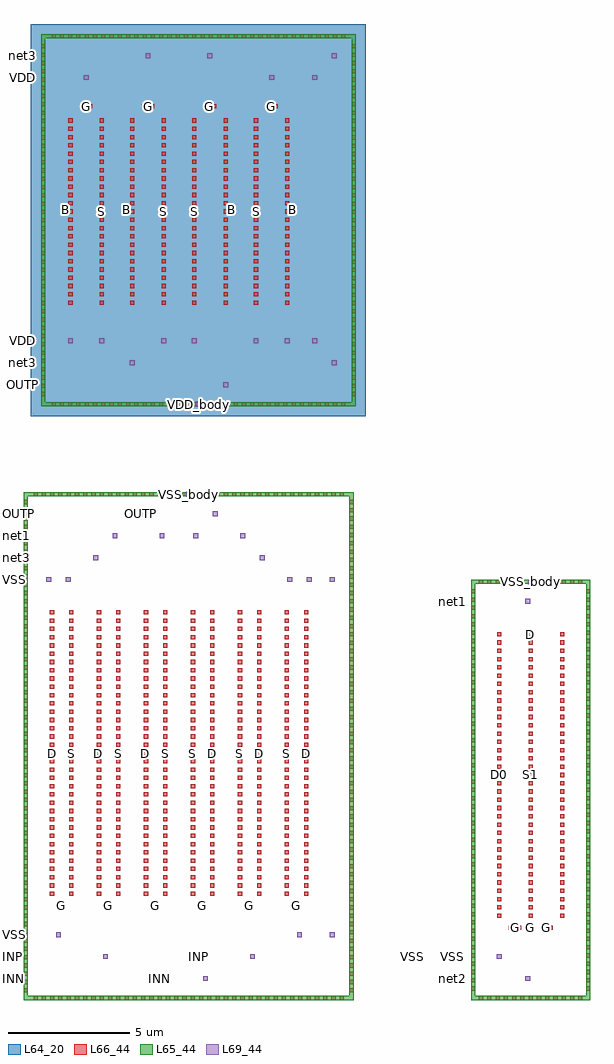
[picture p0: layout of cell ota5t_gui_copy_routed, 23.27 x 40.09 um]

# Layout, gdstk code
from math import pi, radians
import gdstk
lib = gdstk.Library(unit=1e-6, precision=1e-09)
def R(c, l, rs):  # rectangles x0, y0, x1, y1
    for r in rs: c.add(gdstk.rectangle(r[:2], r[2:], *l))
def A(c, l, x, y, w, h, nx, ny, dx, dy):  # array of equal rectangles
    R(c, l, [(x+i*dx, y+j*dy, x+i*dx+w, y+j*dy+h) for i in range(nx) for j in range(ny)])
L64_20 = (64, 20)
L65_44 = (65, 44)
L66_44 = (66, 44)
L69_44 = (69, 44)

d_sky130_fd_pr__nfet_01v = lib.new_cell('D$sky130_fd_pr__nfet_01v8')

c_d_sky130_fd_pr__nfet_01v = lib.new_cell('D$sky130_fd_pr__nfet_01v8$2')

c_d_sky130_fd_pr__nfet_01v_ = lib.new_cell('D$sky130_fd_pr__nfet_01v8$1')

d_sky130_fd_pr__pfet_01v = lib.new_cell('D$sky130_fd_pr__pfet_01v8')
R(d_sky130_fd_pr__pfet_01v, L64_20, [(-0.5,-4,0.5,4)])

ota5t_gui_copy_routed = lib.new_cell('ota5t_gui_copy_routed')
A(ota5t_gui_copy_routed, L64_20, -4.78, -12.015, 1.94, 8.81, 4, 1, 2.54, 0)
R(ota5t_gui_copy_routed, L64_20, [(-6.08,-16.115,7.68,0), (-4.73,-7.66,-4.63,-7.56), (-2.19,-7.66,-2.09,-7.56), (2.09,-7.66,2.19,-7.56), (4.63,-7.66,4.73,-7.56)])
R(ota5t_gui_copy_routed, L65_44, [(-6.375,-40.095,7.175,-39.925), (12.005,-40.095,16.895,-39.925), (-6.375,-39.925,-6.205,-19.405), (7.005,-39.925,7.175,-19.405), (12.005,-39.925,12.175,-23.005), (16.725,-39.925,16.895,-23.005), (12.005,-23.005,16.895,-22.835), (-6.375,-19.405,7.175,-19.235), (-5.665,-15.7,7.265,-15.53), (-5.665,-15.53,-5.495,-0.585), (7.095,-15.53,7.265,-0.585), (-5.665,-0.585,7.265,-0.415)])
A(ota5t_gui_copy_routed, L66_44, -5.975, -40.095, 0.17, 0.17, 38, 2, 0.34, 20.69)
A(ota5t_gui_copy_routed, L66_44, 12.325, -40.095, 0.17, 0.17, 13, 2, 0.34, 17.09)
A(ota5t_gui_copy_routed, L66_44, -6.375, -39.78, 0.17, 0.17, 1, 60, 0, 0.34)
A(ota5t_gui_copy_routed, L66_44, 7.005, -39.78, 0.17, 0.17, 1, 60, 0, 0.34)
A(ota5t_gui_copy_routed, L66_44, 12.005, -39.71, 0.17, 0.17, 1, 49, 0, 0.34)
A(ota5t_gui_copy_routed, L66_44, 16.725, -39.71, 0.17, 0.17, 1, 49, 0, 0.34)
A(ota5t_gui_copy_routed, L66_44, 13.08, -36.715, 0.17, 0.17, 3, 35, 1.29, 0.34)
A(ota5t_gui_copy_routed, L66_44, -4.905, -36.31, 0.17, 0.17, 6, 1, 1.93, 0)
A(ota5t_gui_copy_routed, L66_44, -5.3, -35.815, 0.17, 0.17, 1, 35, 0, 0.34)
A(ota5t_gui_copy_routed, L66_44, -4.51, -35.815, 0.17, 0.17, 1, 35, 0, 0.34)
A(ota5t_gui_copy_routed, L66_44, -3.37, -35.815, 0.17, 0.17, 1, 35, 0, 0.34)
A(ota5t_gui_copy_routed, L66_44, -2.58, -35.815, 0.17, 0.17, 1, 35, 0, 0.34)
A(ota5t_gui_copy_routed, L66_44, -1.44, -35.815, 0.17, 0.17, 1, 35, 0, 0.34)
A(ota5t_gui_copy_routed, L66_44, -0.65, -35.815, 0.17, 0.17, 1, 35, 0, 0.34)
A(ota5t_gui_copy_routed, L66_44, 0.49, -35.815, 0.17, 0.17, 1, 35, 0, 0.34)
A(ota5t_gui_copy_routed, L66_44, 1.28, -35.815, 0.17, 0.17, 1, 35, 0, 0.34)
A(ota5t_gui_copy_routed, L66_44, 2.42, -35.815, 0.17, 0.17, 1, 35, 0, 0.34)
A(ota5t_gui_copy_routed, L66_44, 3.21, -35.815, 0.17, 0.17, 1, 35, 0, 0.34)
A(ota5t_gui_copy_routed, L66_44, 4.35, -35.815, 0.17, 0.17, 1, 35, 0, 0.34)
A(ota5t_gui_copy_routed, L66_44, 5.14, -35.815, 0.17, 0.17, 1, 35, 0, 0.34)
A(ota5t_gui_copy_routed, L66_44, -5.235, -15.7, 0.17, 0.17, 36, 2, 0.34, 15.115)
A(ota5t_gui_copy_routed, L66_44, -5.665, -15.285, 0.17, 0.17, 1, 43, 0, 0.34)
A(ota5t_gui_copy_routed, L66_44, 7.095, -15.285, 0.17, 0.17, 1, 43, 0, 0.34)
A(ota5t_gui_copy_routed, L66_44, -4.54, -11.53, 0.17, 0.17, 1, 23, 0, 0.34)
A(ota5t_gui_copy_routed, L66_44, -3.25, -11.53, 0.17, 0.17, 1, 23, 0, 0.34)
A(ota5t_gui_copy_routed, L66_44, -2, -11.53, 0.17, 0.17, 1, 23, 0, 0.34)
A(ota5t_gui_copy_routed, L66_44, -0.71, -11.53, 0.17, 0.17, 1, 23, 0, 0.34)
A(ota5t_gui_copy_routed, L66_44, 0.54, -11.53, 0.17, 0.17, 1, 23, 0, 0.34)
A(ota5t_gui_copy_routed, L66_44, 1.83, -11.53, 0.17, 0.17, 1, 23, 0, 0.34)
A(ota5t_gui_copy_routed, L66_44, 3.08, -11.53, 0.17, 0.17, 1, 23, 0, 0.34)
A(ota5t_gui_copy_routed, L66_44, 4.37, -11.53, 0.17, 0.17, 1, 23, 0, 0.34)
R(ota5t_gui_copy_routed, L66_44, [(13.555,-37.21,13.725,-37.04), (13.895,-37.21,14.065,-37.04), (14.845,-37.21,15.015,-37.04), (15.185,-37.21,15.355,-37.04), (-4.065,-3.47,-3.895,-3.3), (-3.725,-3.47,-3.555,-3.3), (-1.525,-3.47,-1.355,-3.3), (-1.185,-3.47,-1.015,-3.3), (1.015,-3.47,1.185,-3.3), (1.355,-3.47,1.525,-3.3), (3.555,-3.47,3.725,-3.3), (3.895,-3.47,4.065,-3.3)])
R(ota5t_gui_copy_routed, L69_44, [(-1.19,-39.31,-0.99,-39.11), (0.99,-39.31,1.19,-39.11), (14.225,-39.31,14.425,-39.11), (-3.12,-38.41,-2.92,-38.21), (2.92,-38.41,3.12,-38.21), (13.06,-38.41,13.26,-38.21), (-5.05,-37.51,-4.85,-37.31), (4.85,-37.51,5.05,-37.31), (6.19,-37.51,6.39,-37.31), (14.225,-23.82,14.425,-23.62), (14.35,-23.025,14.55,-22.825), (-5.445,-22.92,-5.245,-22.72), (-4.655,-22.92,-4.455,-22.72), (4.455,-22.92,4.655,-22.72), (5.245,-22.92,5.445,-22.72), (6.19,-22.92,6.39,-22.72), (-3.515,-22.02,-3.315,-21.82), (3.315,-22.02,3.515,-21.82), (-2.725,-21.12,-2.525,-20.92), (-0.795,-21.12,-0.595,-20.92), (0.595,-21.12,0.795,-20.92), (2.525,-21.12,2.725,-20.92), (-1.585,-20.22,-1.385,-20.02), (1.385,-20.22,1.585,-20.02), (0.3,-19.425,0.5,-19.225), (0.7,-15.715,0.9,-15.515), (1.815,-14.915,2.015,-14.715), (-2.015,-14.015,-1.815,-13.815), (6.28,-14.015,6.48,-13.815), (-4.555,-13.115,-4.355,-12.915), (-3.265,-13.115,-3.065,-12.915), (-0.725,-13.115,-0.525,-12.915), (0.525,-13.115,0.725,-12.915), (3.065,-13.115,3.265,-12.915), (4.355,-13.115,4.555,-12.915), (5.48,-13.115,5.68,-12.915), (-3.91,-2.3,-3.71,-2.1), (3.71,-2.3,3.91,-2.1), (5.48,-2.3,5.68,-2.1), (-1.37,-1.4,-1.17,-1.2), (1.17,-1.4,1.37,-1.2), (6.28,-1.4,6.48,-1.2)])
ota5t_gui_copy_routed.add(gdstk.Reference(d_sky130_fd_pr__nfet_01v, (13.81,-30.85), x_reflection=True))
ota5t_gui_copy_routed.add(gdstk.Reference(c_d_sky130_fd_pr__nfet_01v, (0.97,-29.95), rotation=pi))
ota5t_gui_copy_routed.add(gdstk.Reference(c_d_sky130_fd_pr__nfet_01v, (2.9,-29.95), rotation=pi))
ota5t_gui_copy_routed.add(gdstk.Reference(c_d_sky130_fd_pr__nfet_01v, (4.83,-29.95), rotation=pi))
ota5t_gui_copy_routed.add(gdstk.Reference(c_d_sky130_fd_pr__nfet_01v, (-4.82,-29.95), x_reflection=True))
ota5t_gui_copy_routed.add(gdstk.Reference(c_d_sky130_fd_pr__nfet_01v, (-2.89,-29.95), x_reflection=True))
ota5t_gui_copy_routed.add(gdstk.Reference(c_d_sky130_fd_pr__nfet_01v, (-0.96,-29.95), x_reflection=True))
ota5t_gui_copy_routed.add(gdstk.Reference(c_d_sky130_fd_pr__nfet_01v_, (15.1,-30.85), x_reflection=True))
ota5t_gui_copy_routed.add(gdstk.Reference(d_sky130_fd_pr__pfet_01v, (1.27,-7.705), rotation=pi, x_reflection=True))
ota5t_gui_copy_routed.add(gdstk.Reference(d_sky130_fd_pr__pfet_01v, (3.81,-7.705), rotation=pi, x_reflection=True))
ota5t_gui_copy_routed.add(gdstk.Reference(d_sky130_fd_pr__pfet_01v, (-3.81,-7.705)))
ota5t_gui_copy_routed.add(gdstk.Reference(d_sky130_fd_pr__pfet_01v, (-1.27,-7.705)))
ota5t_gui_copy_routed.add(gdstk.Label('B', (-4.68,-7.61), layer=64, texttype=5))
ota5t_gui_copy_routed.add(gdstk.Label('B', (-2.14,-7.61), layer=64, texttype=5))
ota5t_gui_copy_routed.add(gdstk.Label('B', (2.14,-7.61), layer=64, texttype=5))
ota5t_gui_copy_routed.add(gdstk.Label('B', (4.68,-7.61), layer=64, texttype=5))
ota5t_gui_copy_routed.add(gdstk.Label('D0', (13.165,-30.85), layer=67, texttype=5))
ota5t_gui_copy_routed.add(gdstk.Label('VSS_body', (14.45,-22.92), layer=67, texttype=5))
ota5t_gui_copy_routed.add(gdstk.Label('VSS_body', (0.4,-19.32), layer=67, texttype=5))
ota5t_gui_copy_routed.add(gdstk.Label('D', (-5.215,-29.95), layer=67, texttype=5))
ota5t_gui_copy_routed.add(gdstk.Label('D', (-3.285,-29.95), layer=67, texttype=5))
ota5t_gui_copy_routed.add(gdstk.Label('D', (-1.355,-29.95), layer=67, texttype=5))
ota5t_gui_copy_routed.add(gdstk.Label('D', (1.365,-29.95), layer=67, texttype=5))
ota5t_gui_copy_routed.add(gdstk.Label('D', (3.295,-29.95), layer=67, texttype=5))
ota5t_gui_copy_routed.add(gdstk.Label('D', (5.225,-29.95), layer=67, texttype=5))
ota5t_gui_copy_routed.add(gdstk.Label('D', (-4.455,-7.705), layer=67, texttype=5))
ota5t_gui_copy_routed.add(gdstk.Label('D', (-1.915,-7.705), layer=67, texttype=5))
ota5t_gui_copy_routed.add(gdstk.Label('D', (1.915,-7.705), layer=67, texttype=5))
ota5t_gui_copy_routed.add(gdstk.Label('D', (4.455,-7.705), layer=67, texttype=5))
ota5t_gui_copy_routed.add(gdstk.Label('S', (-4.425,-29.95), layer=67, texttype=5))
ota5t_gui_copy_routed.add(gdstk.Label('S', (-2.495,-29.95), layer=67, texttype=5))
ota5t_gui_copy_routed.add(gdstk.Label('S', (-0.565,-29.95), layer=67, texttype=5))
ota5t_gui_copy_routed.add(gdstk.Label('S', (0.575,-29.95), layer=67, texttype=5))
ota5t_gui_copy_routed.add(gdstk.Label('S', (2.505,-29.95), layer=67, texttype=5))
ota5t_gui_copy_routed.add(gdstk.Label('S', (4.435,-29.95), layer=67, texttype=5))
ota5t_gui_copy_routed.add(gdstk.Label('S', (-3.165,-7.705), layer=67, texttype=5))
ota5t_gui_copy_routed.add(gdstk.Label('S', (-0.625,-7.705), layer=67, texttype=5))
ota5t_gui_copy_routed.add(gdstk.Label('S', (0.625,-7.705), layer=67, texttype=5))
ota5t_gui_copy_routed.add(gdstk.Label('S', (3.165,-7.705), layer=67, texttype=5))
ota5t_gui_copy_routed.add(gdstk.Label('G', (13.81,-37.125), layer=67, texttype=5))
ota5t_gui_copy_routed.add(gdstk.Label('G', (15.1,-37.125), layer=67, texttype=5))
ota5t_gui_copy_routed.add(gdstk.Label('G', (-4.82,-36.225), layer=67, texttype=5))
ota5t_gui_copy_routed.add(gdstk.Label('G', (-2.89,-36.225), layer=67, texttype=5))
ota5t_gui_copy_routed.add(gdstk.Label('G', (-0.96,-36.225), layer=67, texttype=5))
ota5t_gui_copy_routed.add(gdstk.Label('G', (0.97,-36.225), layer=67, texttype=5))
ota5t_gui_copy_routed.add(gdstk.Label('G', (2.9,-36.225), layer=67, texttype=5))
ota5t_gui_copy_routed.add(gdstk.Label('G', (4.83,-36.225), layer=67, texttype=5))
ota5t_gui_copy_routed.add(gdstk.Label('G', (-3.81,-3.385), layer=67, texttype=5))
ota5t_gui_copy_routed.add(gdstk.Label('G', (-1.27,-3.385), layer=67, texttype=5))
ota5t_gui_copy_routed.add(gdstk.Label('G', (1.27,-3.385), layer=67, texttype=5))
ota5t_gui_copy_routed.add(gdstk.Label('G', (3.81,-3.385), layer=67, texttype=5))
ota5t_gui_copy_routed.add(gdstk.Label('S1', (14.455,-30.85), layer=67, texttype=5))
ota5t_gui_copy_routed.add(gdstk.Label('VDD_body', (0.8,-15.615), layer=67, texttype=5))
ota5t_gui_copy_routed.add(gdstk.Label('D', (-5.215,-30.05), layer=68, texttype=5))
ota5t_gui_copy_routed.add(gdstk.Label('D', (-3.285,-30.05), layer=68, texttype=5))
ota5t_gui_copy_routed.add(gdstk.Label('D', (-1.355,-30.05), layer=68, texttype=5))
ota5t_gui_copy_routed.add(gdstk.Label('D', (1.365,-30.05), layer=68, texttype=5))
ota5t_gui_copy_routed.add(gdstk.Label('D', (3.295,-30.05), layer=68, texttype=5))
ota5t_gui_copy_routed.add(gdstk.Label('D', (5.225,-30.05), layer=68, texttype=5))
ota5t_gui_copy_routed.add(gdstk.Label('D', (-4.455,-7.605), layer=68, texttype=5))
ota5t_gui_copy_routed.add(gdstk.Label('D', (-1.915,-7.605), layer=68, texttype=5))
ota5t_gui_copy_routed.add(gdstk.Label('D', (1.915,-7.605), layer=68, texttype=5))
ota5t_gui_copy_routed.add(gdstk.Label('D', (4.455,-7.605), layer=68, texttype=5))
ota5t_gui_copy_routed.add(gdstk.Label('S', (-4.425,-30.05), layer=68, texttype=5))
ota5t_gui_copy_routed.add(gdstk.Label('S', (-2.495,-30.05), layer=68, texttype=5))
ota5t_gui_copy_routed.add(gdstk.Label('S', (-0.565,-30.05), layer=68, texttype=5))
ota5t_gui_copy_routed.add(gdstk.Label('S', (0.575,-30.05), layer=68, texttype=5))
ota5t_gui_copy_routed.add(gdstk.Label('S', (2.505,-30.05), layer=68, texttype=5))
ota5t_gui_copy_routed.add(gdstk.Label('S', (4.435,-30.05), layer=68, texttype=5))
ota5t_gui_copy_routed.add(gdstk.Label('S', (-3.165,-7.605), layer=68, texttype=5))
ota5t_gui_copy_routed.add(gdstk.Label('S', (-0.625,-7.605), layer=68, texttype=5))
ota5t_gui_copy_routed.add(gdstk.Label('S', (0.625,-7.605), layer=68, texttype=5))
ota5t_gui_copy_routed.add(gdstk.Label('S', (3.165,-7.605), layer=68, texttype=5))
ota5t_gui_copy_routed.add(gdstk.Label('G', (-4.82,-36.225), layer=68, texttype=5))
ota5t_gui_copy_routed.add(gdstk.Label('G', (-2.89,-36.225), layer=68, texttype=5))
ota5t_gui_copy_routed.add(gdstk.Label('G', (-0.96,-36.225), layer=68, texttype=5))
ota5t_gui_copy_routed.add(gdstk.Label('G', (0.97,-36.225), layer=68, texttype=5))
ota5t_gui_copy_routed.add(gdstk.Label('G', (2.9,-36.225), layer=68, texttype=5))
ota5t_gui_copy_routed.add(gdstk.Label('G', (4.83,-36.225), layer=68, texttype=5))
ota5t_gui_copy_routed.add(gdstk.Label('G', (-3.81,-3.385), layer=68, texttype=5))
ota5t_gui_copy_routed.add(gdstk.Label('G', (-1.27,-3.385), layer=68, texttype=5))
ota5t_gui_copy_routed.add(gdstk.Label('G', (1.27,-3.385), layer=68, texttype=5))
ota5t_gui_copy_routed.add(gdstk.Label('G', (3.81,-3.385), layer=68, texttype=5))
ota5t_gui_copy_routed.add(gdstk.Label('G', (14.455,-37.125), layer=68, texttype=5))
ota5t_gui_copy_routed.add(gdstk.Label('D', (14.455,-25.06), layer=69, texttype=5))
ota5t_gui_copy_routed.add(gdstk.Label('S', (14.455,-36.64), layer=69, texttype=5))
ota5t_gui_copy_routed.add(gdstk.Label('net2', (11.24,-39.21), layer=70, texttype=5))
ota5t_gui_copy_routed.add(gdstk.Label('INN', (-7.14,-39.21), layer=70, texttype=5))
ota5t_gui_copy_routed.add(gdstk.Label('INP', (-7.14,-38.31), layer=70, texttype=5))
ota5t_gui_copy_routed.add(gdstk.Label('net1', (11.24,-23.72), layer=70, texttype=5))
ota5t_gui_copy_routed.add(gdstk.Label('net1', (-7.14,-21.02), layer=70, texttype=5))
ota5t_gui_copy_routed.add(gdstk.Label('OUTP', (-7.14,-20.12), layer=70, texttype=5))
ota5t_gui_copy_routed.add(gdstk.Label('OUTP', (-6.43,-14.815), layer=70, texttype=5))
ota5t_gui_copy_routed.add(gdstk.Label('net3', (-7.14,-21.92), layer=70, texttype=5))
ota5t_gui_copy_routed.add(gdstk.Label('net3', (-6.43,-13.915), layer=70, texttype=5))
ota5t_gui_copy_routed.add(gdstk.Label('net3', (-6.43,-1.3), layer=70, texttype=5))
ota5t_gui_copy_routed.add(gdstk.Label('VSS', (11.24,-38.31), layer=70, texttype=5))
ota5t_gui_copy_routed.add(gdstk.Label('VSS', (-7.14,-37.41), layer=70, texttype=5))
ota5t_gui_copy_routed.add(gdstk.Label('VSS', (-7.14,-22.82), layer=70, texttype=5))
ota5t_gui_copy_routed.add(gdstk.Label('VDD', (-6.43,-13.015), layer=70, texttype=5))
ota5t_gui_copy_routed.add(gdstk.Label('VDD', (-6.43,-2.2), layer=70, texttype=5))
ota5t_gui_copy_routed.add(gdstk.Label('INN', (-0.8,-39.215), layer=71, texttype=5))
ota5t_gui_copy_routed.add(gdstk.Label('VBIAS', (12,-39.215), layer=71, texttype=5))
ota5t_gui_copy_routed.add(gdstk.Label('INP', (0.8,-38.315), layer=71, texttype=5))
ota5t_gui_copy_routed.add(gdstk.Label('OUTP', (-1.6,-20.125), layer=71, texttype=5))
ota5t_gui_copy_routed.add(gdstk.Label('VSS', (9.6,-38.315), layer=71, texttype=5))
ota5t_gui_copy_routed.add(gdstk.Label('VDD', (0.8,-15.615), layer=71, texttype=5))

lib.write_gds('ota5t_gui_copy_routed.gds')
